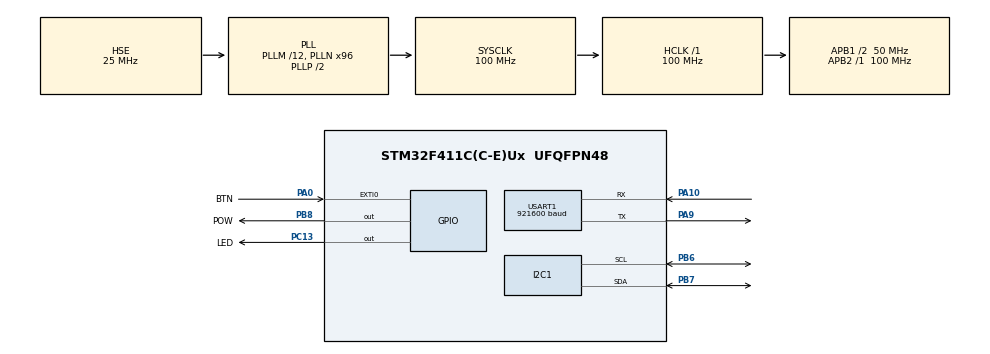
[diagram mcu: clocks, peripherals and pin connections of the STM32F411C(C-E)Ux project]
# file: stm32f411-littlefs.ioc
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I2C1.I2C_Mode=I2C_Fast
Mcu.Family=STM32F4
Mcu.Name=STM32F411C(C-E)Ux
Mcu.Package=UFQFPN48
NVIC.EXTI0_IRQn=true\:0\:0\:false\:false\:true\:true\:true\:true
NVIC.PriorityGroup=NVIC_PRIORITYGROUP_4
PA0-WKUP.GPIO_Label=BTN
PA0-WKUP.GPIO_ModeDefaultEXTI=GPIO_MODE_IT_FALLING
PA0-WKUP.GPIO_PuPd=GPIO_PULLUP
PA0-WKUP.Signal=GPXTI0
PA10.Mode=Asynchronous
PA10.Signal=USART1_RX
PA13.Mode=Serial_Wire
PA13.Signal=SYS_JTMS-SWDIO
PA14.Mode=Serial_Wire
PA14.Signal=SYS_JTCK-SWCLK
PA9.Mode=Asynchronous
PA9.Signal=USART1_TX
PB6.GPIO_Pu=GPIO_PULLUP
PB6.Mode=I2C
PB6.Signal=I2C1_SCL
PB7.GPIO_Pu=GPIO_PULLUP
PB7.Mode=I2C
PB7.Signal=I2C1_SDA
PB8.GPIO_Label=POW
PB8.Signal=GPIO_Output
PC13-ANTI_TAMP.GPIO_Label=LED
PC13-ANTI_TAMP.GPIO_ModeDefaultOutputPP=GPIO_MODE_OUTPUT_OD
PC13-ANTI_TAMP.GPIO_PuPd=GPIO_NOPULL
PC13-ANTI_TAMP.PinState=GPIO_PIN_SET
PC13-ANTI_TAMP.Signal=GPIO_Output
PH0\ -\ OSC_IN.Mode=HSE-External-Oscillator
PH0\ -\ OSC_IN.Signal=RCC_OSC_IN
PH1\ -\ OSC_OUT.Mode=HSE-External-Oscillator
PH1\ -\ OSC_OUT.Signal=RCC_OSC_OUT
ProjectManager.HeapSize=0x200
ProjectManager.StackSize=0x400
ProjectManager.TargetToolchain=STM32CubeIDE
RCC.48MHZClocksFreq_Value=50000000
RCC.AHBFreq_Value=100000000
RCC.APB1CLKDivider=RCC_HCLK_DIV2
RCC.APB1Freq_Value=50000000
RCC.APB1TimFreq_Value=100000000
RCC.APB2Freq_Value=100000000
RCC.APB2TimFreq_Value=100000000
RCC.CortexFreq_Value=100000000
RCC.HCLKFreq_Value=100000000
RCC.HSE_VALUE=25000000
RCC.HSI_VALUE=16000000
RCC.LSE_VALUE=32768
RCC.PLLM=12
RCC.PLLN=96
RCC.PLLSourceVirtual=RCC_PLLSOURCE_HSE
RCC.SYSCLKFreq_VALUE=100000000
RCC.SYSCLKSource=RCC_SYSCLKSOURCE_PLLCLK
RCC.VCOOutputFreq_Value=200000000
USART1.BaudRate=921600
USART1.VirtualMode=VM_ASYNC
board=custom

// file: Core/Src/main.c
/* USER CODE BEGIN Header */
/**
 ******************************************************************************
 * @file           : main.c
 * @brief          : Main program body
 ******************************************************************************
 * @attention
 *
 * Copyright (c) 2023 STMicroelectronics.
 * All rights reserved.
 *
 * This software is licensed under terms that can be found in the LICENSE file
 * in the root directory of this software component.
 * If no LICENSE file comes with this software, it is provided AS-IS.
 *
 ******************************************************************************
 */
/* USER CODE END Header */
#include "main.h"

/* USER CODE BEGIN Includes */
#include <string.h>
#include "m24cxx.h"
#include "lfs.h"
#include "littlefs.h"
/* USER CODE END Includes */

I2C_HandleTypeDef hi2c1;

UART_HandleTypeDef huart1;

/* USER CODE BEGIN PV */
M24CXX_HandleTypeDef m24cxx;

uint8_t do_action = 0;

lfs_file_t file;
lfs_dir_t dir;
struct lfs_info info;

/* USER CODE END PV */

void SystemClock_Config(void);
static void MX_GPIO_Init(void);
static void MX_I2C1_Init(void);
static void MX_USART1_UART_Init(void);

/* USER CODE BEGIN 0 */

// Send printf to uart1
int _write(int fd, char *ptr, int len) {
    HAL_StatusTypeDef hstatus;

    if (fd == 1 || fd == 2) {
        hstatus = HAL_UART_Transmit(&huart1, (uint8_t*) ptr, len, HAL_MAX_DELAY);
        if (hstatus == HAL_OK)
            return len;
        else
            return -1;
    }
    return -1;
}

void HAL_GPIO_EXTI_Callback(uint16_t GPIO_Pin) {
    if (GPIO_Pin == BTN_Pin) // If the button
    {
        do_action = 1;
    }
}

/* USER CODE END 0 */

int main(void)
{

  /* MCU Configuration--------------------------------------------------------*/

  /* Reset of all peripherals, Initializes the Flash interface and the Systick. */
  HAL_Init();

  /* Configure the system clock */
  SystemClock_Config();

  /* Initialize all configured peripherals */
  MX_GPIO_Init();
  MX_I2C1_Init();
  MX_USART1_UART_Init();
  /* USER CODE BEGIN 2 */

    DBG("\n\n\n\n--------\nStarting");

    DBG("Powering up memory");
    HAL_GPIO_WritePin(POW_GPIO_Port, POW_Pin, GPIO_PIN_SET);

    // Wait a few ms to get ready
    HAL_Delay(10);

    DBG("Scanning I2C bus:");
    // Go through all possible i2c addresses
    for (uint8_t i = 0; i < 128; i++) {

        if (HAL_I2C_IsDeviceReady(&hi2c1, (uint16_t) (i << 1), 3, 100) == HAL_OK) {
            // We got an ack
            printf("%2x ", i);
        } else {
            printf("-- ");
        }

        if (i > 0 && (i + 1) % 16 == 0)
            printf("\n");

    }

    printf("\n");

    if (m24cxx_init(&m24cxx, &hi2c1, 0x50) != M24CXX_Ok) {
        DBG("M24CXX Failed to initialize");
        Error_Handler();
    }

    //m24cxx_erase_all(&m24cxx);

    m24cxx_littlefs_init(&m24cxx);

    // read current count
    uint32_t boot_count = 0;

    lfs_file_open(&littlefs, &file, "boot_count", LFS_O_RDWR | LFS_O_CREAT);
    lfs_file_read(&littlefs, &file, &boot_count, sizeof(boot_count));

    // update boot count
    boot_count += 1;
    lfs_file_rewind(&littlefs, &file);
    lfs_file_write(&littlefs, &file, &boot_count, sizeof(boot_count));

    // remember the storage is not updated until the file is closed successfully
    lfs_file_close(&littlefs, &file);

    uint32_t start_uptime = 0;

    lfs_file_open(&littlefs, &file, "uptime", LFS_O_RDWR | LFS_O_CREAT);
    lfs_file_read(&littlefs, &file, &start_uptime, sizeof(start_uptime));
    lfs_file_close(&littlefs, &file);

    DBG("Boot count = %lu start uptime = %lu s", boot_count, start_uptime);

  /* USER CODE END 2 */

  /* Infinite loop */
  /* USER CODE BEGIN WHILE */

    uint32_t now = 0, last_blink = 0, last_update = 0;

    while (1) {

        now = HAL_GetTick();

        if (now - last_blink >= 500) {
            HAL_GPIO_TogglePin(LED_GPIO_Port, LED_Pin);
            last_blink = now;
        }

        if (now - last_update >= 1000) {

            uint32_t total_uptime = start_uptime + now / 1000;

            uint32_t start = HAL_GetTick();
            lfs_file_open(&littlefs, &file, "uptime", LFS_O_RDWR);
            lfs_file_rewind(&littlefs, &file);
            lfs_file_write(&littlefs, &file, &total_uptime, sizeof(total_uptime));
            lfs_file_close(&littlefs, &file);
            DBG("File update took %lu ms", HAL_GetTick() - start);

            DBG("Total uptime = %lu s", total_uptime);

            last_update = now;
        }

        if (do_action) {
            do_action = 0;
            DBG("Do action!");

        }

    /* USER CODE END WHILE */

    }
}

void SystemClock_Config(void)
{
  RCC_OscInitTypeDef RCC_OscInitStruct = {0};
  RCC_ClkInitTypeDef RCC_ClkInitStruct = {0};

  /** Configure the main internal regulator output voltage
  */
  __HAL_RCC_PWR_CLK_ENABLE();
  __HAL_PWR_VOLTAGESCALING_CONFIG(PWR_REGULATOR_VOLTAGE_SCALE1);

  /** Initializes the RCC Oscillators according to the specified parameters
  * in the RCC_OscInitTypeDef structure.
  */
  RCC_OscInitStruct.OscillatorType = RCC_OSCILLATORTYPE_HSE;
  RCC_OscInitStruct.HSEState = RCC_HSE_ON;
  RCC_OscInitStruct.PLL.PLLState = RCC_PLL_ON;
  RCC_OscInitStruct.PLL.PLLSource = RCC_PLLSOURCE_HSE;
  RCC_OscInitStruct.PLL.PLLM = 12;
  RCC_OscInitStruct.PLL.PLLN = 96;
  RCC_OscInitStruct.PLL.PLLP = RCC_PLLP_DIV2;
  RCC_OscInitStruct.PLL.PLLQ = 4;
  if (HAL_RCC_OscConfig(&RCC_OscInitStruct) != HAL_OK)
  {
    Error_Handler();
  }

  /** Initializes the CPU, AHB and APB buses clocks
  */
  RCC_ClkInitStruct.ClockType = RCC_CLOCKTYPE_HCLK|RCC_CLOCKTYPE_SYSCLK
                              |RCC_CLOCKTYPE_PCLK1|RCC_CLOCKTYPE_PCLK2;
  RCC_ClkInitStruct.SYSCLKSource = RCC_SYSCLKSOURCE_PLLCLK;
  RCC_ClkInitStruct.AHBCLKDivider = RCC_SYSCLK_DIV1;
  RCC_ClkInitStruct.APB1CLKDivider = RCC_HCLK_DIV2;
  RCC_ClkInitStruct.APB2CLKDivider = RCC_HCLK_DIV1;

  if (HAL_RCC_ClockConfig(&RCC_ClkInitStruct, FLASH_LATENCY_3) != HAL_OK)
  {
    Error_Handler();
  }
}

static void MX_I2C1_Init(void)
{

  hi2c1.Instance = I2C1;
  hi2c1.Init.ClockSpeed = 400000;
  hi2c1.Init.DutyCycle = I2C_DUTYCYCLE_2;
  hi2c1.Init.OwnAddress1 = 0;
  hi2c1.Init.AddressingMode = I2C_ADDRESSINGMODE_7BIT;
  hi2c1.Init.DualAddressMode = I2C_DUALADDRESS_DISABLE;
  hi2c1.Init.OwnAddress2 = 0;
  hi2c1.Init.GeneralCallMode = I2C_GENERALCALL_DISABLE;
  hi2c1.Init.NoStretchMode = I2C_NOSTRETCH_DISABLE;
  if (HAL_I2C_Init(&hi2c1) != HAL_OK)
  {
    Error_Handler();
  }

}

static void MX_USART1_UART_Init(void)
{

  huart1.Instance = USART1;
  huart1.Init.BaudRate = 921600;
  huart1.Init.WordLength = UART_WORDLENGTH_8B;
  huart1.Init.StopBits = UART_STOPBITS_1;
  huart1.Init.Parity = UART_PARITY_NONE;
  huart1.Init.Mode = UART_MODE_TX_RX;
  huart1.Init.HwFlowCtl = UART_HWCONTROL_NONE;
  huart1.Init.OverSampling = UART_OVERSAMPLING_16;
  if (HAL_UART_Init(&huart1) != HAL_OK)
  {
    Error_Handler();
  }

}

static void MX_GPIO_Init(void)
{
  GPIO_InitTypeDef GPIO_InitStruct = {0};

  /* GPIO Ports Clock Enable */
  __HAL_RCC_GPIOC_CLK_ENABLE();
  __HAL_RCC_GPIOH_CLK_ENABLE();
  __HAL_RCC_GPIOA_CLK_ENABLE();
  __HAL_RCC_GPIOB_CLK_ENABLE();

  /*Configure GPIO pin Output Level */
  HAL_GPIO_WritePin(LED_GPIO_Port, LED_Pin, GPIO_PIN_SET);

  /*Configure GPIO pin Output Level */
  HAL_GPIO_WritePin(POW_GPIO_Port, POW_Pin, GPIO_PIN_RESET);

  /*Configure GPIO pin : LED_Pin */
  GPIO_InitStruct.Pin = LED_Pin;
  GPIO_InitStruct.Mode = GPIO_MODE_OUTPUT_OD;
  GPIO_InitStruct.Pull = GPIO_NOPULL;
  GPIO_InitStruct.Speed = GPIO_SPEED_FREQ_LOW;
  HAL_GPIO_Init(LED_GPIO_Port, &GPIO_InitStruct);

  /*Configure GPIO pin : BTN_Pin */
  GPIO_InitStruct.Pin = BTN_Pin;
  GPIO_InitStruct.Mode = GPIO_MODE_IT_FALLING;
  GPIO_InitStruct.Pull = GPIO_PULLUP;
  HAL_GPIO_Init(BTN_GPIO_Port, &GPIO_InitStruct);

  /*Configure GPIO pin : POW_Pin */
  GPIO_InitStruct.Pin = POW_Pin;
  GPIO_InitStruct.Mode = GPIO_MODE_OUTPUT_PP;
  GPIO_InitStruct.Pull = GPIO_NOPULL;
  GPIO_InitStruct.Speed = GPIO_SPEED_FREQ_LOW;
  HAL_GPIO_Init(POW_GPIO_Port, &GPIO_InitStruct);

  /* EXTI interrupt init*/
  HAL_NVIC_SetPriority(EXTI0_IRQn, 0, 0);
  HAL_NVIC_EnableIRQ(EXTI0_IRQn);

}

void Error_Handler(void)
{
    __disable_irq();
    while (1) {
    }
}
